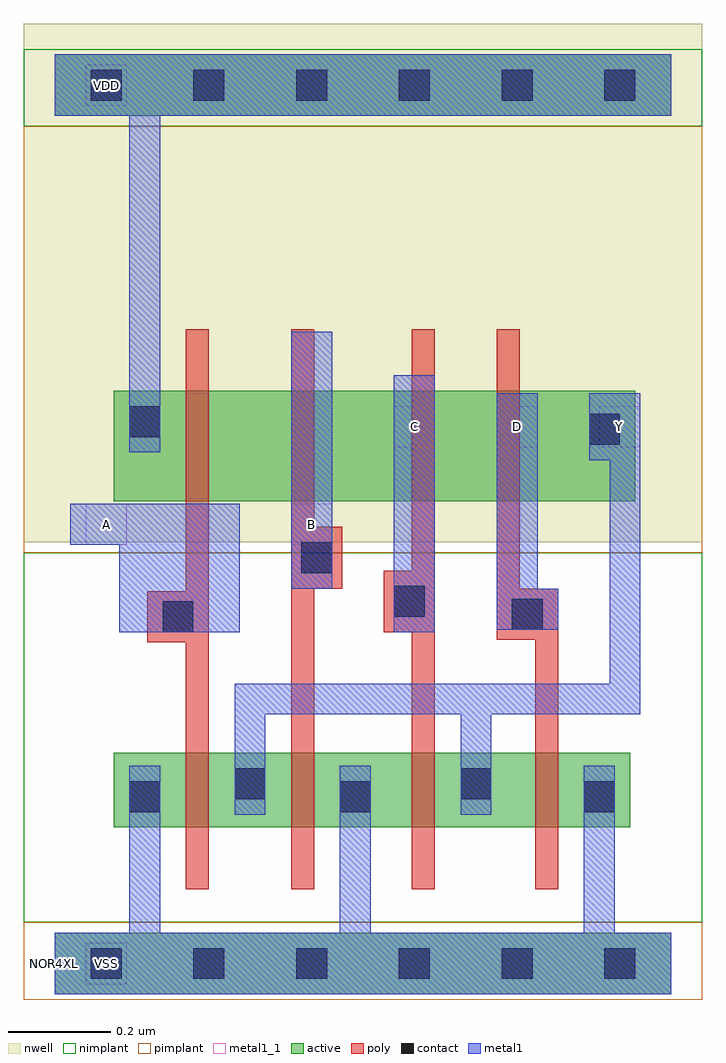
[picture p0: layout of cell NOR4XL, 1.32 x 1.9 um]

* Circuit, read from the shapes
.subckt NOR4XL A B C D VDD VSS Y
M1 Y A VSS VSS nfet w=0.145u l=0.045u
M2 VSS B Y VSS nfet w=0.145u l=0.045u
M3 Y C VSS VSS nfet w=0.145u l=0.045u
M4 VSS D Y VSS nfet w=0.145u l=0.045u
M5 n1 A VDD VDD pfet w=0.215u l=0.045u
M6 n2 B n1 VDD pfet w=0.215u l=0.045u
M7 n3 C n2 VDD pfet w=0.215u l=0.045u
M8 Y D n3 VDD pfet w=0.215u l=0.045u
.ends

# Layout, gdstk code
import gdstk
lib = gdstk.Library(unit=1e-6, precision=5e-10)
def R(c, l, rs):  # rectangles x0, y0, x1, y1
    for r in rs: c.add(gdstk.rectangle(r[:2], r[2:], *l))
def A(c, l, x, y, w, h, nx, ny, dx, dy):  # array of equal rectangles
    R(c, l, [(x+i*dx, y+j*dy, x+i*dx+w, y+j*dy+h) for i in range(nx) for j in range(ny)])
def P(c, l, *ps):  # polygons
    for p in ps: c.add(gdstk.Polygon(p, *l))
active = (1, 0)
nwell = (2, 0)
poly = (3, 0)
nimplant = (4, 0)
pimplant = (5, 0)
contact = (6, 0)
metal1 = (7, 0)
metal1_1 = (7, 1)

nor4xl = lib.new_cell('NOR4XL')
R(nor4xl, active, [(0,-0.06,1.2,0.06), (0.115,0.265,1.12,0.41), (0.115,0.9,1.13,1.115), (0,1.65,1.2,1.77)])
R(nor4xl, nwell, [(-0.06,0.82,1.26,1.83)])
P(nor4xl, poly, [(0.255,1.235),(0.3,1.235),(0.3,0.145),(0.255,0.145),(0.255,0.625),(0.18,0.625),(0.18,0.725),(0.255,0.725)],
  [(0.46,1.235),(0.505,1.235),(0.505,0.85),(0.56,0.85),(0.56,0.73),(0.505,0.73),(0.505,0.145),(0.46,0.145)],
  [(0.695,1.235),(0.74,1.235),(0.74,0.145),(0.695,0.145),(0.695,0.645),(0.64,0.645),(0.64,0.765),(0.695,0.765)],
  [(0.86,1.235),(0.905,1.235),(0.905,0.73),(0.98,0.73),(0.98,0.145),(0.935,0.145),(0.935,0.63),(0.86,0.63)])
R(nor4xl, nimplant, [(-0.06,0.08,1.26,0.8), (-0.06,1.63,1.26,1.78)])
R(nor4xl, pimplant, [(-0.06,-0.07,1.26,0.08), (-0.06,0.8,1.26,1.63)])
A(nor4xl, contact, 0.07, -0.03, 0.06, 0.06, 6, 2, 0.2, 1.71)
R(nor4xl, contact, [(0.145,0.295,0.205,0.355), (0.555,0.295,0.615,0.355), (1.03,0.295,1.09,0.355), (0.35,0.32,0.41,0.38), (0.79,0.32,0.85,0.38), (0.21,0.645,0.27,0.705), (0.89,0.65,0.95,0.71), (0.66,0.675,0.72,0.735), (0.48,0.76,0.54,0.82), (1.04,1.01,1.1,1.07), (0.145,1.025,0.205,1.085)])
R(nor4xl, metal1, [(0.66,0.645,0.74,1.145), (0.46,0.73,0.54,1.23)])
P(nor4xl, metal1, [(0.145,0.385),(0.205,0.385),(0.205,0.06),(0.555,0.06),(0.555,0.385),(0.615,0.385),(0.615,0.06),(1.03,0.06),(1.03,0.385),(1.09,0.385),(1.09,0.06),(1.2,0.06),(1.2,-0.06),(0,-0.06),(0,0.06),(0.145,0.06)],
  [(0,1.77),(1.2,1.77),(1.2,1.65),(0.205,1.65),(0.205,0.995),(0.145,0.995),(0.145,1.65),(0,1.65)],
  [(1.04,1.11),(1.14,1.11),(1.14,0.485),(0.85,0.485),(0.85,0.29),(0.79,0.29),(0.79,0.485),(0.41,0.485),(0.41,0.29),(0.35,0.29),(0.35,0.545),(1.08,0.545),(1.08,0.98),(1.04,0.98)],
  [(0.03,0.895),(0.36,0.895),(0.36,0.645),(0.125,0.645),(0.125,0.815),(0.03,0.815)],
  [(0.86,1.11),(0.94,1.11),(0.94,0.73),(0.98,0.73),(0.98,0.65),(0.86,0.65)])
A(nor4xl, metal1_1, 0.06, -0.04, 0.08, 0.08, 1, 3, 0, 0.855)
A(nor4xl, metal1_1, 0.66, 1.005, 0.08, 0.08, 3, 1, 0.2, 0)
R(nor4xl, metal1_1, [(0.46,0.815,0.54,0.895)])
nor4xl.add(gdstk.Label('Y', (1.1,1.045), layer=7, texttype=1))
nor4xl.add(gdstk.Label('A', (0.1,0.855), layer=7, texttype=1))
nor4xl.add(gdstk.Label('B', (0.5,0.855), layer=7, texttype=1))
nor4xl.add(gdstk.Label('C', (0.7,1.045), layer=7, texttype=1))
nor4xl.add(gdstk.Label('D', (0.9,1.045), layer=7, texttype=1))
nor4xl.add(gdstk.Label('VDD', (0.1,1.71), layer=7, texttype=1))
nor4xl.add(gdstk.Label('VSS', (0.1,0), layer=7, texttype=1))
nor4xl.add(gdstk.Label('NOR4XL', (0,0), layer=63, texttype=0))

lib.write_gds('NOR4XL.gds')
